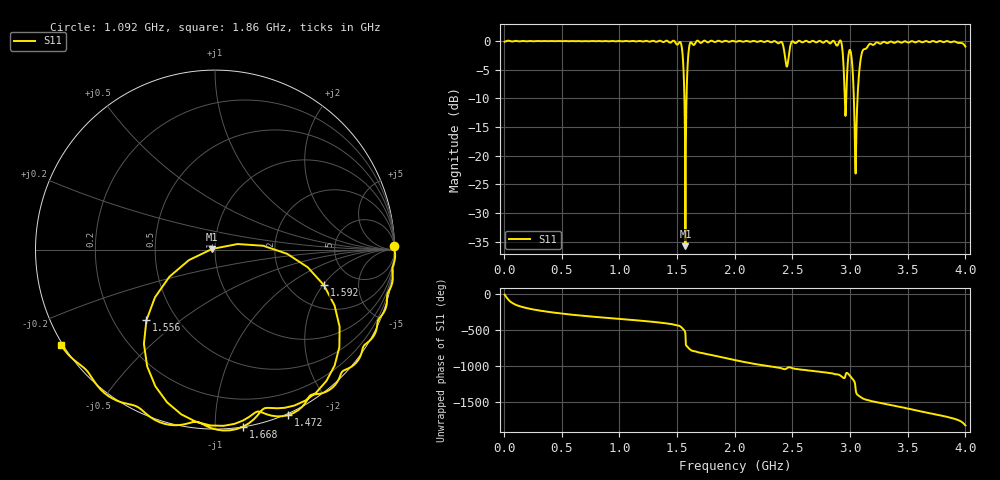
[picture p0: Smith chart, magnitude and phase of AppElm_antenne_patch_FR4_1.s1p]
! TOUCHSTONE file generated by CST MICROWAVE STUDIO
! Date and time: Tue Jun  7 22:11:12 2022
! Project name: AppElm_antenne_patch_FR4.cst
! Parameters = {L=45; W=58.5; e=0.035; h=1.6; lambda=0.190476; ls=120; w0=1.6; w1=0.3998; ws=120; y0=20; y1=23.81}
! Header version: 2018
! Port assignment regex: !\s*Touchstone port\s*([0-9]+)\s*=\s*(CST MWS port|CST DS port)\s*([0-9]+|Zmin|Zmax)\s*\(\"(.*)\"\)(\s*mode\s*([0-9]+))?.*
! Touchstone port assignment:
! Touchstone port 1 = CST MWS port 1 ("")
# GHz S MA R 50
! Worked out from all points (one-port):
!   1000 points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, 4 MHz to 4 GHz, reference 50 ohm
!   lowest |S11| = -35.8 dB at 1.572 GHz (marker M1), VSWR 1.03, Z = 48.4 + j0.359 ohm
!   |S11| at or under -10 dB: 1.563 GHz to 1.582 GHz (18.33 MHz wide, 1.17 % of centre); 2.953752 GHz to 2.966625 GHz (12.87 MHz wide, 0.435 % of centre); 3.033 GHz to 3.064 GHz (31.29 MHz wide, 1.03 % of centre)
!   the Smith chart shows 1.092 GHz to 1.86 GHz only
!   S11 on the Smith chart (normalised r, x): 1.092 GHz: open; 1.472 GHz: -0.01, -1.53; 1.556 GHz: 0.34, -0.38; 1.592 GHz: 3.06, -2.04; 1.668 GHz: 0.00, -1.17; 1.86 GHz: -0.00, -0.29
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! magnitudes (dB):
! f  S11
! 4 MHz  -0.1
! 504 MHz  0.0
! 1.004 GHz  0.0
! 1.092 GHz  0.0
! 1.472 GHz  0.1
! 1.504 GHz  -0.6
! 1.54 GHz  -1.0
! 1.556 GHz  -5.2
! 1.572 GHz  -35.8
! 1.592 GHz  -3.9
! 1.6 GHz  -1.8
! 1.612 GHz  -0.4
! 1.668 GHz  0.0
! 1.86 GHz  0.1
! 2.004 GHz  -0.1
! 2.396 GHz  -0.2
! 2.452 GHz  -4.5
! 2.504 GHz  0.0
! 2.912 GHz  0.1
! 2.96 GHz  -13.0
! 3.004 GHz  -1.7
! 3.036 GHz  -12.1
! 3.048 GHz  -23.1
! 3.06 GHz  -12.0
! 3.088 GHz  -3.7
! 3.12 GHz  -1.4
! 3.504 GHz  -0.2
! 4 GHz  -1.0
